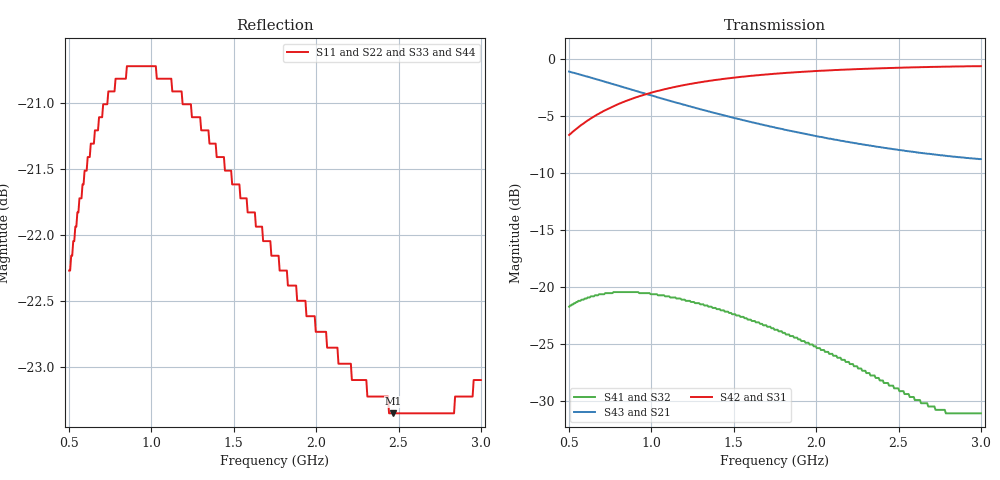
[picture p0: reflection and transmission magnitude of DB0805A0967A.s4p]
!	AVX THIN FILM OPERATION
!	0805 SIZE 3dB 90deg COUPLER P/N DB0805A0967AWTR
!	Created March 23 2003
!	Network Analyzer HP8720E S.07.64: Feb23, 2000 Serial No.US39172382
#	MHZ	S	MA	R	50
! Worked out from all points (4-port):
!   400 points, 500 MHz to 3 GHz, reference 50 ohm
!   strongest paths, dB at 500 MHz, 1.127 GHz, 1.753 GHz, 2.38 GHz, 3 GHz:
!     S42: -6.7, -2.5, -1.3, -0.9, -0.7
!     S31: -6.7, -2.5, -1.3, -0.9, -0.7
!     S43: -1.1, -3.8, -6.1, -7.7, -8.8
!     S21: -1.1, -3.8, -6.1, -7.7, -8.8
!     S41: -21.7, -20.9, -23.7, -28.0, -31.1
!     S32: -21.7, -20.9, -23.7, -28.0, -31.1
!   lowest |S11| = -23.3 dB at 2.467 GHz (marker M1), VSWR 1.15, Z = 47.1 + j5.96 ohm
!   |S11| at or under -10 dB: start of sweep to end of sweep
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500  0.077 -148.3  0.877 -28.9  0.463 60.2  0.082 34.8
     0.877 -28.9  0.077 -148.3  0.082 34.8  0.463 60.2
     0.463 60.2  0.082 34.8  0.077 -148.3  0.877 -28.9
     0.082 34.8  0.463 60.2  0.877 -28.9  0.077 -148.3
769.424  0.09 -172.5  0.772 -40.3  0.618 48.7  0.095 13.5
         0.772 -40.3  0.09 -172.5  0.095 13.5  0.618 48.7
         0.618 48.7  0.095 13.5  0.09 -172.5  0.772 -40.3
         0.095 13.5  0.618 48.7  0.772 -40.3  0.09 -172.5
1345.865  0.087 152.2  0.587 -56.6  0.798 32.5  0.082 -14.3
          0.587 -56.6  0.087 152.2  0.082 -14.3  0.798 32.5
          0.798 32.5  0.082 -14.3  0.087 152.2  0.587 -56.6
          0.082 -14.3  0.798 32.5  0.587 -56.6  0.087 152.2
1872.18  0.076 130.9  0.478 -66.0  0.871 23.4  0.06 -24.8
         0.478 -66.0  0.076 130.9  0.06 -24.8  0.871 23.4
         0.871 23.4  0.06 -24.8  0.076 130.9  0.478 -66.0
         0.06 -24.8  0.871 23.4  0.478 -66.0  0.076 130.9
2467.419  0.068 112.2  0.401 -73.4  0.91 16.3  0.037 -18.2
          0.401 -73.4  0.068 112.2  0.037 -18.2  0.91 16.3
          0.91 16.3  0.037 -18.2  0.068 112.2  0.401 -73.4
          0.037 -18.2  0.91 16.3  0.401 -73.4  0.068 112.2
2786.967  0.068 103.4  0.375 -76.7  0.922 13.2  0.028 1.5
          0.375 -76.7  0.068 103.4  0.028 1.5  0.922 13.2
          0.922 13.2  0.028 1.5  0.068 103.4  0.375 -76.7
          0.028 1.5  0.922 13.2  0.375 -76.7  0.068 103.4
3000  0.07 97.8  0.363 -78.7  0.926 11.3  0.028 22.3
      0.363 -78.7  0.07 97.8  0.028 22.3  0.926 11.3
      0.926 11.3  0.028 22.3  0.07 97.8  0.363 -78.7
      0.028 22.3  0.926 11.3  0.363 -78.7  0.07 97.8
